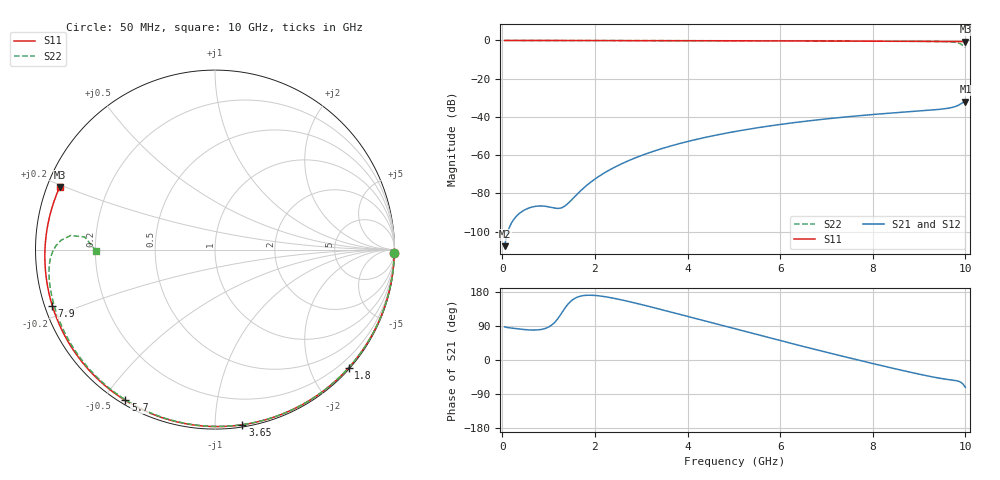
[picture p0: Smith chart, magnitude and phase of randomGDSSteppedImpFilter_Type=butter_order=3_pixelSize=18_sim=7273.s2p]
! freq	dB(S11)	phase(S11)	dB(S12)	phase(S12)
!  dB(S21)	phase(S21)	dB(S22)	phase(S22)
!S-par simulation data
#  GHz  S  DB  R 50
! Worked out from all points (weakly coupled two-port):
!   200 points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, 50 MHz to 10 GHz, reference 50 ohm
!   highest |S21| = -32.01 dB at 10 GHz (marker M1); lowest = -107.7 dB at 50 MHz (marker M2)
!   lowest |S11| = -0.6 dB at 10 GHz (marker M3), VSWR 28.84, Z = 1.8 + j9.71 ohm
!   |S11| at or under -10 dB: nowhere
!   |S22| runs from -3.6 to 0.0 dB; largest |S21 - S12| = 0
!   S11 on the Smith chart (normalised r, x): 50 MHz: open; 1.8 GHz: 0.02, -2.64; 3.65 GHz: 0.01, -1.17; 5.7 GHz: 0.02, -0.57; 7.9 GHz: 0.02, -0.17; 10 GHz: 0.04, +0.19
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0.05  -0.01 -1.1  -107.67 87.4  -107.67 87.4  -0.00 -1.0
0.8  -0.02 -18.7  -86.65 79.9  -86.65 79.9  -0.02 -16.4
1.6  -0.05 -37.1  -80.86 164.8  -80.86 164.8  -0.04 -32.6
1.75  -0.05 -40.4  -77.38 169.9  -77.38 169.9  -0.05 -35.6
1.8  -0.05 -41.6  -76.33 170.6  -76.33 170.6  -0.05 -36.6
2.1  -0.06 -48.2  -70.91 169.1  -70.91 169.1  -0.05 -42.5
2.45  -0.07 -55.9  -66.05 161.9  -66.05 161.9  -0.06 -49.3
2.9  -0.08 -65.5  -61.19 149.4  -61.19 149.4  -0.08 -57.8
3.4  -0.10 -76.0  -56.95 134.1  -56.95 134.1  -0.09 -67.2
3.65  -0.11 -81.1  -55.15 126.2  -55.15 126.2  -0.10 -71.8
4.35  -0.13 -95.1  -50.91 103.8  -50.91 103.8  -0.12 -84.3
5.05  -0.16 -108.6  -47.56 81.3  -47.56 81.3  -0.15 -96.5
5.7  -0.20 -120.7  -45.00 60.7  -45.00 60.7  -0.18 -107.5
6.7  -0.26 -139.1  -41.85 29.6  -41.85 29.6  -0.24 -124.0
7.9  -0.36 -161.0  -38.97 -6.4  -38.97 -6.4  -0.34 -143.5
8.35  -0.41 -169.4  -38.08 -19.4  -38.08 -19.4  -0.38 -150.9
9.2  -0.50 174.3  -36.55 -42.4  -36.55 -42.4  -0.50 -165.9
9.65  -0.56 165.3  -35.38 -51.9  -35.38 -51.9  -0.71 -176.1
9.8  -0.58 162.2  -34.43 -54.5  -34.43 -54.5  -1.04 178.7
9.9  -0.59 160.1  -33.22 -58.6  -33.22 -58.6  -1.84 174.5
9.95  -0.60 159.1  -32.47 -63.7  -32.47 -63.7  -2.74 174.4
10  -0.60 158.0  -32.01 -72.1  -32.01 -72.1  -3.58 -179.4
